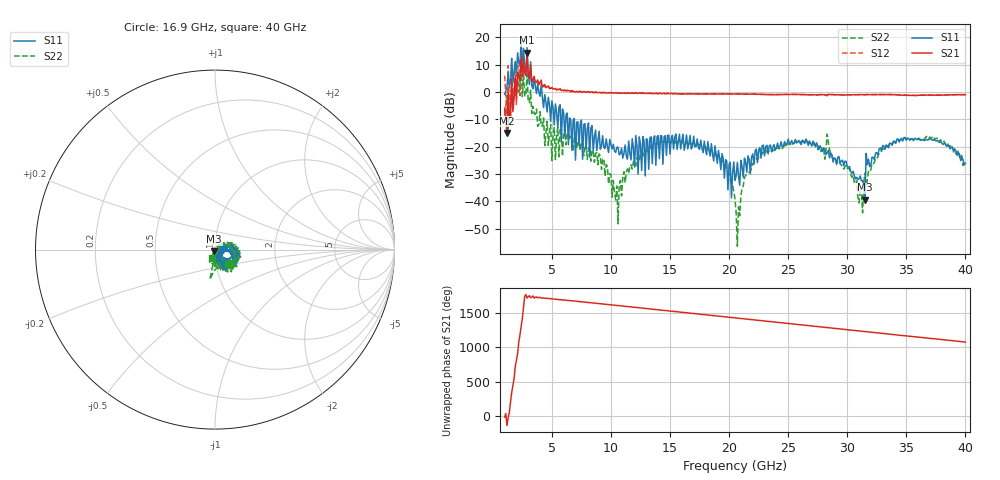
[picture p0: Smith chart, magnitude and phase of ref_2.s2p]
!Keysight Technologies,N5224A,MY55441802,A.10.65.16
!Date: Wednesday, May 13, 2026 18:10:39
!Correction: S11(Full 2 Port(1,2))
!S21(Full 2 Port(1,2))
!S12(Full 2 Port(1,2))
!S22(Full 2 Port(1,2))
!S2P File: Measurements: S11, S21, S12, S22:
# Hz S  dB  R 50
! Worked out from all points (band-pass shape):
!   391 points, 1 GHz to 40 GHz, reference 50 ohm
!   highest |S21| = 14.33 dB at 2.9 GHz (marker M1); lowest = -15.1 dB at 1.2 GHz (marker M2)
!   |S21| within 3 dB of the highest: 2.38 GHz to 2.425 GHz (44.73 MHz wide, 1.86 % of centre); 2.597883 GHz to 2.602777 GHz (4.895 MHz wide, 0.188 % of centre) (the widest 2 of 3)
!   lowest |S11| = -39.4 dB at 31.5 GHz (marker M3), VSWR 1.02, Z = 49.5 - j0.947 ohm
!   |S11| at or under -10 dB: 4.886 GHz to 4.911 GHz (25.35 MHz wide, 0.518 % of centre); 6.57 GHz to 6.859 GHz (288.9 MHz wide, 4.3 % of centre); 6.902 GHz to end of sweep (the widest 3 of 8)
!   |S22| runs from -56.4 to 9.8 dB; largest |S21 - S12| = 2.4
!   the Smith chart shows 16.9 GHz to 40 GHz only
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1e9  -0.88 -85.2  -5.89 -15.5  5.95 -14.4  -8.58 -85.2
1.2e9  1.76 1.8  -15.06 -136.9  -15.03 -84.2  -1.24 -16.1
1.7e9  3.34 172.1  -7.23 78.5  -3.90 22.7  -3.17 45.8
1.9e9  11.18 -35.7  5.42 -2.0  10.52 -2.3  -1.13 71.1
2e9  6.03 174.5  -2.44 91.5  -4.54 44.1  -1.41 43.1
2.1e9  14.28 1.7  7.08 -172.6  8.33 -172.8  6.19 -9.3
2.2e9  10.69 -36.7  5.87 -3.8  9.77 -6.6  -0.12 65.7
2.3e9  9.74 171.1  3.94 101.2  -1.34 73.2  1.86 42.9
2.4e9  18.81 40.6  13.18 -134.1  14.75 -134.6  9.85 28.8
2.5e9  7.67 -57.6  5.69 -23.5  7.99 -26.7  -1.70 42.5
2.6e9  15.89 -161.4  11.45 137.3  6.62 128.6  7.30 63.6
2.7e9  9.01 114.7  7.06 -60.3  8.65 -59.6  -1.44 101.6
2.9e9  16.18 -28.2  14.33 -84.3  11.97 -86.2  6.47 -155.3
3e9  6.96 110.5  5.98 -64.4  7.33 -61.6  -3.31 95.2
3.2e9  11.02 -26.3  10.04 -80.9  8.35 -77.4  0.63 -146.3
7.5e9  -10.32 -38.1  0.02 -140.4  0.08 -139.0  -18.44 -40.0
1.4e10  -15.99 14.5  -0.67 103.9  -0.66 103.6  -18.55 4.6
2.05e10  -32.35 30.6  -0.76 -13.2  -0.73 -13.6  -39.10 -153.6
2.7e10  -19.83 -54.9  -1.09 -130.2  -1.03 -130.7  -18.99 -47.4
3.15e10  -39.44 -116.2  -1.09 149.0  -1.02 148.6  -29.72 45.7
3.35e10  -20.43 2.6  -0.97 112.0  -0.99 111.7  -19.57 15.3
4e10  -26.09 -81.1  -1.00 -4.7  -1.03 -5.0  -25.68 -109.9
